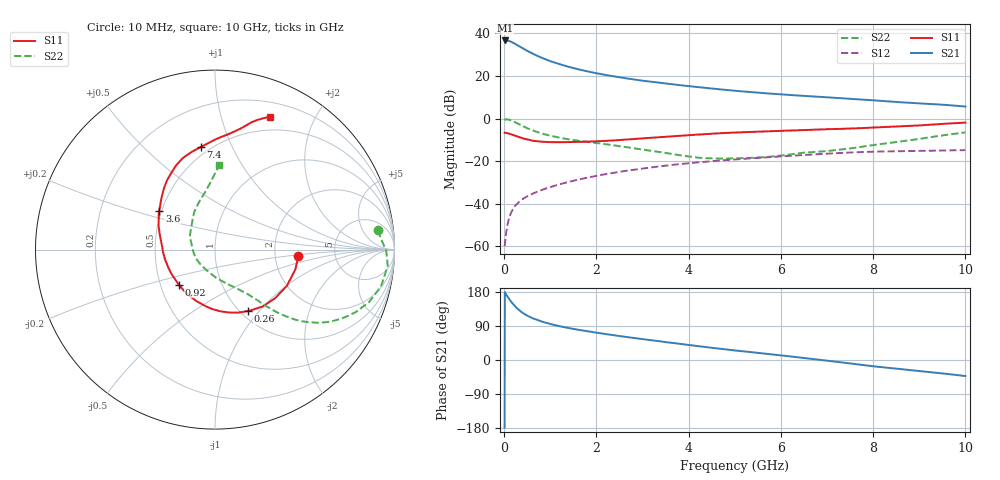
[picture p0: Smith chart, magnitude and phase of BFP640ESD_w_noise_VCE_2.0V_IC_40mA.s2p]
! (c) 2016  Infineon Technologies AG, Munich
! Infineon Technologies  Discrete & RF Semiconductors
! BFP640ESD
! VCE =  2.0 V,  IC =  40 mA
! Common Emitter S-Parameters:  Jan 2016
# GHz  S  MA  R  50
!  f  S11  S21  S12  S22
! GHz  MAG  ANG  MAG  ANG  MAG  ANG  MAG  ANG
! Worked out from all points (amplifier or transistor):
!   233 points, 10 MHz to 10 GHz, reference 50 ohm
!   highest |S21| = 36.7 dB at 20 MHz (marker M1)
!   |S21| within 3 dB of that: start of sweep to 349.9 MHz
!   unconditionally stable (mu >= 1): 2.07 GHz to 7.309 GHz
!   at 200 MHz: K = 0.32, MSG = 38.9 dB, |S12| = -42.3 dB
!   at 1.74 GHz: K = 0.98, MSG = 25.3 dB, |S12| = -28.1 dB
!   at 10 GHz: K = 0.89, MSG = 10.2 dB, |S12| = -14.8 dB
!   lowest NFmin = 1.27 dB at 450 MHz
!   S11 on the Smith chart (normalised r, x): 10 MHz: 2.71, -0.26; 260 MHz: 1.08, -0.87; 920 MHz: 0.62, -0.26; 3.6 GHz: 0.49, +0.25; 7.4 GHz: 0.45, +0.77; 10 GHz: 0.35, +1.44
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0.01  0.4649 -4.6  66.95 -178.5  0.001 114.8  0.9121 6.7
0.02  0.4635 -6.7  68.49 177.4  0.0012 105.1  0.9543 -0.5
0.05  0.4611 -13.9  68.45 171.4  0.0023 85.9  0.9665 -5.4
0.1  0.4484 -26.8  67.18 162.6  0.0043 79.7  0.9476 -12.5
0.15  0.4307 -39.0  63.93 154.0  0.0061 76.6  0.9067 -18.8
0.2  0.4133 -50.0  60.24 146.6  0.0077 73.5  0.8576 -24.0
0.26  0.3878 -61.9  55.25 138.7  0.0094 70.8  0.7958 -29.1
0.3  0.3749 -69.4  52.21 134.0  0.0104 69.6  0.756 -32.1
0.4  0.3448 -85.1  45.04 124.5  0.0128 67.3  0.6656 -37.5
0.5  0.3212 -98.6  39.09 117.1  0.0149 66.1  0.5923 -41.2
0.7  0.2936 -119.3  30.39 106.2  0.0187 65.6  0.4877 -45.5
0.92  0.2812 -136.0  24.17 97.6  0.023 65.5  0.4151 -48.2
1.22  0.2777 -152.9  18.7 88.7  0.0288 65.5  0.351 -51.1
1.68  0.2841 -170.7  13.8 78.2  0.0383 64.3  0.2938 -54.9
2.4  0.3068 169.7  9.712 65.0  0.0538 60.2  0.2327 -63.6
3.4  0.366 148.9  6.857 49.0  0.0759 52.0  0.1612 -85.4
3.6  0.3789 145.1  6.464 45.8  0.0804 50.1  0.1493 -91.5
5.1  0.4741 123.6  4.404 24.0  0.1113 35.5  0.117 -159.4
6.8  0.5521 105.5  3.251 1.1  0.1453 18.8  0.1658 146.0
7.4  0.5767 97.9  2.969 -7.6  0.1574 11.9  0.192 132.4
8.4  0.6395 84.6  2.494 -21.6  0.1696 -0.0  0.271 110.5
10  0.8021 67.5  1.917 -42.3  0.181 -15.6  0.4706 87.1
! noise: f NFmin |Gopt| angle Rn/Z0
0.45  1.27  0.26  -167  0.1
0.9  1.28  0.28  -162  0.09
1.9  1.31  0.3  -138  0.16
2.4  1.32  0.31  -132  0.13
5.5  1.54  0.48  -100  0.22
10  2.09  0.6  -72  0.97
